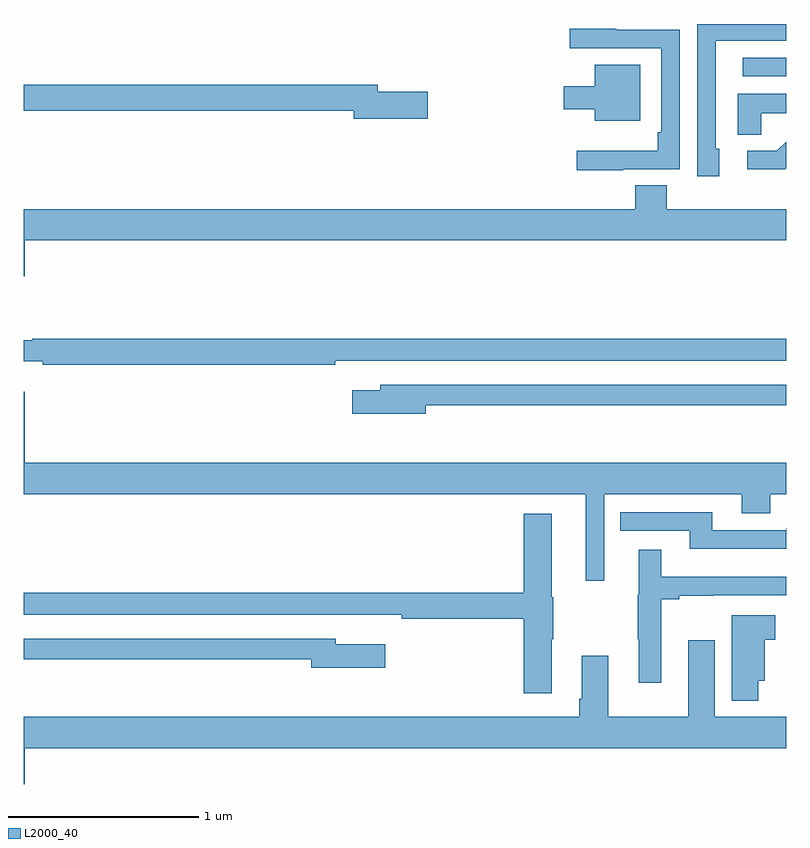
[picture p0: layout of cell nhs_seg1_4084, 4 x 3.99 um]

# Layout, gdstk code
import gdstk
lib = gdstk.Library(unit=1e-6, precision=1e-09)
def R(c, l, rs):  # rectangles x0, y0, x1, y1
    for r in rs: c.add(gdstk.rectangle(r[:2], r[2:], *l))
def P(c, l, *ps):  # polygons
    for p in ps: c.add(gdstk.Polygon(p, *l))
L2000_40 = (2000, 40)

nhs_seg1_4084 = lib.new_cell('nhs_seg1_4084')
R(nhs_seg1_4084, L2000_40, [(336.771,553.926,337,554.022)])
P(nhs_seg1_4084, L2000_40, [(336.649,553.545),(336.63,553.545),(336.63,554.112),(337,554.112),(337,554.199),(336.534,554.199),(336.534,553.401),(336.649,553.401)],
  [(336.145,553.437),(336.441,553.437),(336.441,554.169),(336.109,554.169),(336.109,554.173),(335.865,554.173),(335.865,554.073),(336.345,554.073),(336.345,553.63),(336.325,553.63),(336.325,553.534),(335.901,553.534),(335.901,553.433),(336.145,553.433)],
  [(336.235,553.984),(335.996,553.984),(335.996,553.873),(335.832,553.873),(335.832,553.751),(335.996,553.751),(335.996,553.691),(336.235,553.691)],
  [(335.119,553.844),(334.858,553.844),(334.858,553.88),(333,553.88),(333,553.744),(334.73,553.744),(334.73,553.702),(335.119,553.702)],
  [(336.868,553.73),(337,553.73),(337,553.834),(336.746,553.834),(336.746,553.618),(336.868,553.618)],
  [(337,553.442),(337,553.582),(336.951,553.533),(336.795,553.533),(336.795,553.436),(336.994,553.436)],
  [(333.004,553.064),(337,553.064),(337,553.228),(336.374,553.228),(336.374,553.352),(336.209,553.352),(336.209,553.228),(333,553.228),(333,552.876),(333.004,552.876)],
  [(334.634,552.432),(337,552.432),(337,552.548),(333.044,552.548),(333.044,552.541),(333,552.541),(333,552.431),(333.1,552.431),(333.1,552.412),(334.634,552.412)],
  [(335.11,552.198),(337,552.198),(337,552.306),(334.871,552.306),(334.871,552.277),(334.722,552.277),(334.722,552.155),(335.11,552.155)],
  [(336.045,551.732),(336.767,551.732),(336.767,551.633),(336.915,551.633),(336.915,551.732),(337,551.732),(337,551.896),(333.004,551.896),(333.004,552.271),(333,552.271),(333,551.732),(335.948,551.732),(335.948,551.277),(336.045,551.277)],
  [(337,551.554),(336.999,551.554),(336.999,551.544),(336.613,551.544),(336.613,551.637),(336.13,551.637),(336.13,551.541),(336.494,551.541),(336.494,551.447),(337,551.447)],
  [(335.77,550.972),(335.778,550.972),(335.778,551.193),(335.77,551.193),(335.77,551.629),(335.624,551.629),(335.624,551.216),(333,551.216),(333,551.1),(334.732,551.1),(334.732,551.099),(334.984,551.099),(334.984,551.08),(335.624,551.08),(335.624,550.689),(335.77,550.689)],
  [(336.343,551.182),(336.439,551.182),(336.439,551.2),(336.617,551.2),(336.617,551.202),(337,551.202),(337,551.299),(336.343,551.299),(336.343,551.44),(336.227,551.44),(336.227,551.205),(336.22,551.205),(336.22,550.972),(336.227,550.972),(336.227,550.743),(336.343,550.743)],
  [(336.853,550.754),(336.886,550.754),(336.886,550.969),(336.943,550.969),(336.943,551.098),(336.713,551.098),(336.713,550.649),(336.853,550.649)],
  [(334.897,550.945),(334.636,550.945),(334.636,550.974),(333,550.974),(333,550.866),(334.508,550.866),(334.508,550.823),(334.897,550.823)],
  [(333.004,550.4),(337,550.4),(337,550.564),(336.625,550.564),(336.625,550.966),(336.485,550.966),(336.485,550.564),(336.067,550.564),(336.067,550.885),(335.927,550.885),(335.927,550.66),(335.915,550.66),(335.915,550.564),(333,550.564),(333,550.212),(333.004,550.212)])

lib.write_gds('nhs_seg1_4084.gds')
